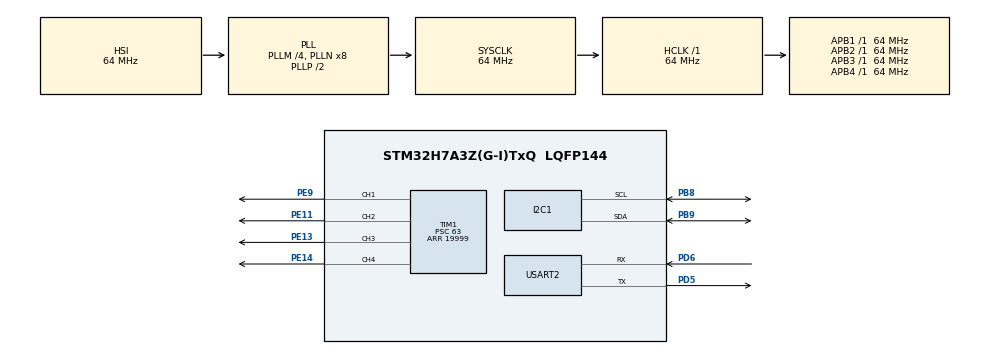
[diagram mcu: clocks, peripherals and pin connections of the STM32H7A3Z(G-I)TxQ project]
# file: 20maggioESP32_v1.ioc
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CORTEX_M7.default_mode_Activation=1
Mcu.Family=STM32H7
Mcu.Name=STM32H7A3Z(G-I)TxQ
Mcu.Package=LQFP144
NVIC.PriorityGroup=NVIC_PRIORITYGROUP_4
NVIC.USART2_IRQn=true\:0\:0\:false\:false\:true\:true\:true\:true
PB8.Mode=I2C
PB8.Signal=I2C1_SCL
PB9.Mode=I2C
PB9.Signal=I2C1_SDA
PC14-OSC32_IN.GPIO_Label=OSC32_IN
PC14-OSC32_IN.Signal=RCC_OSC32_IN
PC15-OSC32_OUT.GPIO_Label=OSC32_OUT
PC15-OSC32_OUT.Signal=RCC_OSC32_OUT
PD5.Mode=Asynchronous
PD5.Signal=USART2_TX
PD6.Mode=Asynchronous
PD6.Signal=USART2_RX
PD8.GPIO_Label=STLINK_RX
PD8.Signal=USART3_TX
PD9.GPIO_Label=STLINK_TX
PD9.Signal=USART3_RX
PE11.Signal=S_TIM1_CH2
PE13.Signal=S_TIM1_CH3
PE14.Signal=S_TIM1_CH4
PE9.Signal=S_TIM1_CH1
PH0-OSC_IN.GPIO_Label=PH0-MCU
PH0-OSC_IN.Signal=RCC_OSC_IN
PH1-OSC_OUT.GPIO_Label=PH1-MCU
PH1-OSC_OUT.Signal=RCC_OSC_OUT
ProjectManager.HeapSize=0x200
ProjectManager.StackSize=0x400
ProjectManager.TargetToolchain=STM32CubeIDE
RCC.ADCFreq_Value=129000000
RCC.APB1Freq_Value=64000000
RCC.APB2Freq_Value=64000000
RCC.APB3Freq_Value=64000000
RCC.APB4Freq_Value=64000000
RCC.CortexFreq_Value=64000000
RCC.DIVM1=4
RCC.DIVM3=1
RCC.DIVN1=8
RCC.DIVN3=24
RCC.DIVQ1=4
RCC.HCLKFreq_Value=64000000
RCC.HSE_VALUE=8000000
RCC.PLLFRACN=0
RCC.PWR_Regulator_Voltage_Scale=PWR_REGULATOR_VOLTAGE_SCALE0
RCC.SYSCLKFreq_VALUE=64000000
RCC.SYSCLKSource=RCC_SYSCLKSOURCE_PLLCLK
RCC.SupplySource=PWR_DIRECT_SMPS_SUPPLY
RCC.USBCLockSelection=RCC_USBCLKSOURCE_HSI48
RCC.USBFreq_Value=48000000
SH.S_TIM1_CH1.0=TIM1_CH1,PWM Generation1 CH1
SH.S_TIM1_CH2.0=TIM1_CH2,PWM Generation2 CH2
SH.S_TIM1_CH3.0=TIM1_CH3,PWM Generation3 CH3
SH.S_TIM1_CH4.0=TIM1_CH4,PWM Generation4 CH4
TIM1.AutoReloadPreload=TIM_AUTORELOAD_PRELOAD_ENABLE
TIM1.Channel-PWM\ Generation1\ CH1=TIM_CHANNEL_1
TIM1.Channel-PWM\ Generation2\ CH2=TIM_CHANNEL_2
TIM1.Channel-PWM\ Generation3\ CH3=TIM_CHANNEL_3
TIM1.Channel-PWM\ Generation4\ CH4=TIM_CHANNEL_4
TIM1.Period=19999
TIM1.Prescaler=63
USART2.VirtualMode-Asynchronous=VM_ASYNC
VP_MEMORYMAP_VS_MEMORYMAP.Mode=CurAppReg
VP_TIM1_VS_ClockSourceINT.Mode=Internal
board=NUCLEO-H7A3ZI-Q

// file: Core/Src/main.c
/* USER CODE BEGIN Header */
/**
 ******************************************************************************
 * @file           : main.c
 * @brief          : Main program body - Drone Flight Controller
 ******************************************************************************
 */
/* USER CODE END Header */

#include "main.h"

/* USER CODE BEGIN Includes */
#include <math.h>
#include <stdio.h>
#include <stdlib.h>
#include <string.h>
/* USER CODE END Includes */

/* USER CODE BEGIN PD */
#define MPU6050_ADDR 0xD0 // Indirizzo I2C (AD0 a GND) ottenuto partendo da 0x68 shiftando a sinistra i bit e mettendo 0 come LSB

// Costanti Matematiche e di Sistema
#define RAD_TO_DEG 57.2957795131f
#define LPF_ALPHA 0.1f // Fattore filtro Passa-Basso per filtrare i valori dell'accelerazione (siccome l'accelerometro è sensibile al rumore ad alta frequenza, tipo vibrazioni)
#define COMP_ALPHA 0.999f // Fattore filtro Complementare
#define GYRO_SCALE 65.5f // Scala giroscopio per +/- 500 deg/s

// Mapping giroscopio -> angolo
#define GYRO_ROLL_SIGN 1.0f  // gyro X -> roll
#define GYRO_PITCH_SIGN 1.0f // gyro Y -> pitch
#define GYRO_YAW_SIGN 1.0f   // gyro Z -> yaw rate

// Yaw: segno di miscelazione e limiti
// Se il drone, con yaw attivo, tende a ruotare SEMPRE PIU' VELOCE invece di
// stabilizzarsi, inverti YAW_MIX_SIGN (1.0f <-> -1.0f).
#define YAW_MIX_SIGN 1.0f
#define YAW_OUT_MAX 150.0f // massima correzione yaw in us sui motori
#define YAW_I_MAX 60.0f    // limite anti-windup dell'integrale yaw
#define YAW_D_LPF 0.2f     // filtro passa-basso sulla derivata yaw (0..1)

// Controllo direzionale da web (inclinazione fissa, non graduale)
#define DIR_TILT_DEG 5.0f        // inclinazione MASSIMA (joystick a fondo corsa)
#define DIR_YAW_RATE_DPS 30.0f   // velocita' di imbardata in deg/s
#define DIR_TIMEOUT_MS 400       // se non arrivano DIR, torna in piano
// Se un comando va nel verso sbagliato, metti -1.0f
#define DIR_PITCH_SIGN 1.0f
#define DIR_ROLL_SIGN 1.0f
#define DIR_YAW_SIGN 1.0f

// Sicurezza e trim motori
#define MOTOR_TIMEOUT_MS 45000 // spegnimento automatico dopo 8 s
#define TRIM_MIN 0.80f        // limiti moltiplicatori motori
#define TRIM_MAX 1.20f
#define RX_LINE_LEN 64
#define RX_QUEUE_LEN 4
// Failsafe collegamento: se con i motori accesi non arriva "HB:" dall'ESP32
// per LINK_TIMEOUT_MS (WiFi perso, filo UART staccato, pagina bloccata) -> kill
#define LINK_TIMEOUT_MS 500
/* USER CODE END PD */

I2C_HandleTypeDef hi2c1;
TIM_HandleTypeDef htim1;
UART_HandleTypeDef huart2;

/* USER CODE BEGIN PV */
// Variabili MPU6050 (Filtri)
float ax_filt = 0, ay_filt = 0, az_filt = 0;
float pitch = 0, roll = 0;
uint32_t last_time = 0;
float dt_actual = 0.004f;

// Variabili Calibrazione
float gyro_x_cal = 0.0f, gyro_y_cal = 0.0f, gyro_z_cal = 0.0f;
float acc_pitch_cal = -4.79f, acc_roll_cal = -0.89f; // -4.79   -0.89 stimati in precedenza con le accelerazioni in MPU_Init (tenendo il drone dritto)
float gyro_rate_pitch = 0.0f;
float gyro_rate_roll = 0.0f;
float gyro_rate_yaw = 0.0f;

// Variabili UART ESP32
uint8_t esp32_rx_byte;
char rx_line[RX_LINE_LEN];                // riga in costruzione (ISR)
uint8_t rx_index = 0;
volatile uint8_t rx_overflow = 0;
char rx_queue[RX_QUEUE_LEN][RX_LINE_LEN]; // coda comandi ISR -> main
volatile uint8_t rx_q_head = 0, rx_q_tail = 0;
volatile uint32_t link_last_tick = 0; // ultimo heartbeat "HB:" valido ricevuto
char telemetry_tx_buffer[300];
volatile uint8_t telemetry_tx_busy = 0;

// Stato di sistema - Variabili PID
uint32_t current_throttle = 1000;
float pid_pitch_p = 3.0f, pid_pitch_i = 0.7f, pid_pitch_d = 0.8f;
float pid_roll_p = 3.0f, pid_roll_i = 0.9f, pid_roll_d = 0.85f;
// PID Yaw (controllo sulla velocita' angolare, setpoint 0 deg/s).

float pid_yaw_p = 1.0f, pid_yaw_i = 0.8f, pid_yaw_d = 0.1f;
volatile uint8_t motors_enabled = 0;
uint32_t motor_start_tick = 0;			// Per misurare i secondi in cui il drone vola (safe turn-off)

// Moltiplicatori motori (1.0 = nessuna correzione) - VALORI DI DEFAULT
// 0 = M1 Front Left, 1 = M2 Front Right, 2 = M3 Back Right, 3 = M4 Back Left
float motor_trim[4] = {0.900f, 1.060f, 1.170f, 1.080f};			// Trim modificato per correggere la potenza dei motori (dispersione dei parametri)

// Variabili PID
float error_pitch = 0, integral_pitch = 0;
float error_roll = 0, integral_roll = 0;
float error_yaw = 0, integral_yaw = 0;
float prev_gyro_rate_yaw = 0, yaw_d_filt = 0;

// Setpoint da comando direzionale (0 = hovering)
float sp_pitch = 0.0f, sp_roll = 0.0f, sp_yaw_rate = 0.0f;			// variabili per la direzione
uint32_t dir_last_tick = 0;
/* USER CODE END PV */

void SystemClock_Config(void);
static void MPU_Config(void);
static void MX_GPIO_Init(void);
static void MX_TIM1_Init(void);
static void MX_USART2_UART_Init(void);
static void MX_I2C1_Init(void);

/* USER CODE BEGIN PFP */
void MPU6050_Init(void);
void MPU6050_Read_Filter_Compute(void);
void PID_ComputeAndMix(void);
void Motors_Kill(void);
void Process_Command(char *line);
/* USER CODE END PFP */

int main(void) {
  /* MPU Configuration--------------------------------------------------------*/
  MPU_Config();

  /* Reset of all peripherals, Initializes the Flash interface and the Systick.
   */
  HAL_Init();

  /* Configure the system clock */
  SystemClock_Config();

  /* Initialize all configured peripherals */
  MX_GPIO_Init();
  MX_TIM1_Init();
  MX_USART2_UART_Init();
  MX_I2C1_Init();

  /* USER CODE BEGIN 2 */
  // Inizializzazione del sensore MPU6050
  MPU6050_Init();

  // Avvia i segnali PWM sui 4 canali del Timer 1
  HAL_TIM_PWM_Start(&htim1, TIM_CHANNEL_1);
  HAL_TIM_PWM_Start(&htim1, TIM_CHANNEL_2);
  HAL_TIM_PWM_Start(&htim1, TIM_CHANNEL_3);
  HAL_TIM_PWM_Start(&htim1, TIM_CHANNEL_4);

  // Armamento ESC (1000 us minimo)
  __HAL_TIM_SET_COMPARE(&htim1, TIM_CHANNEL_1, 1000);		// Per quanto tempo il segnale deve stare alto (1000us= 1ms)
  __HAL_TIM_SET_COMPARE(&htim1, TIM_CHANNEL_2, 1000);
  __HAL_TIM_SET_COMPARE(&htim1, TIM_CHANNEL_3, 1000);
  __HAL_TIM_SET_COMPARE(&htim1, TIM_CHANNEL_4, 1000);
  HAL_Delay(4000); // Attesa completamento boot ESC

  // Attiva la ricezione UART in modalità Interrupt
  HAL_UART_Receive_IT(&huart2, &esp32_rx_byte, 1); // Salva 1 byte in esp32_rx_byte

  last_time = HAL_GetTick();
  /* USER CODE END 2 */

  /* Infinite loop */
  /* USER CODE BEGIN WHILE */
  while (1) {
    uint32_t current_time = HAL_GetTick();

    // WATCHDOG: spegnimento automatico dopo MOTOR_TIMEOUT_MS secondi, controllato ad ogni giro
    // (fuori dal blocco a 4 ms)
    if (motors_enabled &&
        (current_time - motor_start_tick >= MOTOR_TIMEOUT_MS)) {
      Motors_Kill();
    }

    // WATCHDOG COLLEGAMENTO: nessun heartbeat valido -> spegni i motori.
    // Cast a int32_t: link_last_tick viene aggiornato in ISR quando arriva heartbeat e puo' essere
    // "piu' nuovo" di current_time. Questo perchè current_time e link_last_tick sono unsigned (e dunque un
    // numero negativo darebbe un kill perchè diventerebbe enorme)
    if (motors_enabled &&
        ((int32_t)(current_time - link_last_tick) >= LINK_TIMEOUT_MS)) {
      Motors_Kill();
    }

    /* Timeout comando direzionale: senza DIR recenti torna in piano
    if ((sp_pitch != 0.0f || sp_roll != 0.0f || sp_yaw_rate != 0.0f) &&			// Siccome il joystick torna a 0 quando si molla il dito, questa non serve, tecnicamente si può commentare
        (current_time - dir_last_tick >= DIR_TIMEOUT_MS)) {						// Lo usavamo quando il controller era fatto con frecce direzionali in fase di test
      sp_pitch = 0.0f;
      sp_roll = 0.0f;
      sp_yaw_rate = 0.0f;
    }
	*/

    // Se la ricezione UART si fosse fermata (errore), riarmala
    if (huart2.RxState == HAL_UART_STATE_READY) {
      HAL_UART_Receive_IT(&huart2, &esp32_rx_byte, 1);
    }

    // ==========================================
    // CONTROL LOOP: Eseguito ogni 4ms (250Hz)
    // ==========================================
    if (current_time - last_time >= 4) {
      // 1. Acquisizione I2C e applicazione filtri Digitali (Passa Basso +
      // Complementare)
      MPU6050_Read_Filter_Compute();

      // 2. Calcolo errori, computazione PID e miscelazione motori
      PID_ComputeAndMix();

      // 3. Telemetria verso ESP32 (Eseguita ogni 40ms -> 25Hz per evitare saturazione UART)
      static uint8_t telemetry_counter = 0;			// definita static in modo che il suo valore non venga azzerato ad ogni ciclo
      if (++telemetry_counter >= 10) {				// Entro nell'if solo dopo 10 cicli (40 ms)
        if (!telemetry_tx_busy) {					// telemetry_tx_busy viene messo a 0 in HAL_UART_TxCpltCallback
          int len = snprintf(						// Mi torna il numero di caratteri della stringa in telemetry_tx_buffer
              telemetry_tx_buffer, sizeof(telemetry_tx_buffer),
              "ANG:%.2f,%.2f,"
              "yaw_rate:%.2f,"
              "pid_pitch_p:%.3f,pid_pitch_i:%.3f,pid_pitch_d:%.3f,"
              "pid_roll_p:%.3f,pid_roll_i:%.3f,pid_roll_d:%.3f,"
              "pid_yaw_p:%.3f,pid_yaw_i:%.3f,pid_yaw_d:%.3f,"
              "trim1:%.3f,trim2:%.3f,trim3:%.3f,trim4:%.3f,"
              "motors:%d\n",
              pitch, roll, gyro_rate_yaw, pid_pitch_p, pid_pitch_i,
              pid_pitch_d, pid_roll_p, pid_roll_i, pid_roll_d, pid_yaw_p,
              pid_yaw_i, pid_yaw_d, motor_trim[0], motor_trim[1],
              motor_trim[2], motor_trim[3], (int)motors_enabled);

          if (len > 0 && len < (int)sizeof(telemetry_tx_buffer)) {
            telemetry_tx_busy = 1;
            if (HAL_UART_Transmit_IT(&huart2, (uint8_t *)telemetry_tx_buffer,			// Nel caso in cui non vada bene la ricezione non torna HAL_OK
                                     (uint16_t)len) != HAL_OK) {						// Una volta mandato correttamente l'ultimo byte si attiva HAL_UART_TxCpltCallback
              telemetry_tx_busy = 0;
            }
          }
        }
        telemetry_counter = 0;
      }
    }

    // ==========================================
    // PARSING DEI COMANDI ESP32 (coda riempita dalla ISR)
    // ==========================================

    // La catena è la seguente: 1 byte viene mandato tramite UART all'H7 e viene salvato in esp32_rx_byte. Siccome arriva un byte, si attiva HAL_UART_RxCpltCallback.
    // In questa funzione i byte in arrivo vengono inseriti in un buffer "rx_line[64]" fino a quando non arriva un "\n" e successivamente si riarma la ricezione con HAL_UART_Receive_IT. Per essere più sicuri che i pacchetti
    // non vengano persi, salviamo 3 messaggi (ciascuno al massimo da 64 byte) in rx_queue[4][64]. Inoltre i messaggi di spegnimento, spegnimento di emergenza e HeartBeat vengono processati direttamente nel interrupt,
    // e non vengono dunque messi nella coda.

    // Nel while qui sotto utilizziamo 2 indici rx_q_tail: utilizzata dal main, è l'indice del prossimo comando da eseguire in Process_Command(). rx_q_head: utilizzata dalla ISR indica
    // il prossimo slot in cui scrivere. Fino a quando ci sono dei messaggi nella coda il while è attivo e carica in ordine in local_buffer l'istruzione da eseguire.

    while (rx_q_tail != rx_q_head) {						// rx_q_head è una variabile che viene aumentata dall'ISR
      char local_buffer[RX_LINE_LEN];
      strncpy(local_buffer, rx_queue[rx_q_tail], RX_LINE_LEN - 1);
      local_buffer[RX_LINE_LEN - 1] = '\0';
      rx_q_tail = (rx_q_tail + 1) % RX_QUEUE_LEN;
      Process_Command(local_buffer);
    }
    /* USER CODE END WHILE */
  }
}

/* USER CODE BEGIN 4 */

/**
 * @brief Inizializzazione MPU6050 via I2C
 */
void MPU6050_Init(void) {
  uint8_t check, data;

  // Verifica presenza MPU6050 controllando il registro WHO_AM_I (0x75)
  HAL_I2C_Mem_Read(&hi2c1, MPU6050_ADDR, 0x75, 1, &check, 1, 1000);		// Salvo in &check il valore del registro WHO_AM_
  // I2c mette uno "0" come ultimo bit per scrittura, e "1" come ultimo bit per lettura. Si usa sempre l'inidirizzo con "0" alla fine (sia per scrittura e lettura)
  // e viene gestita in automatico dalla HAL.

  if (check == 104) { // 104 = 0x68 (Default per MPU6050)
    // 1. Risveglio MPU6050
    data = 0;
    HAL_I2C_Mem_Write(&hi2c1, MPU6050_ADDR, 0x6B, 1, &data, 1, 1000);  // Scrivo 0 in tutto il registro per togliere sleep mode del MPU6050
    // 2. Configurazione Giroscopio: Fondo scala +/- 500 deg/s
    data = 0x08;
    HAL_I2C_Mem_Write(&hi2c1, MPU6050_ADDR, 0x1B, 1, &data, 1, 1000);
    // 3. Configurazione Accelerometro: Fondo scala +/- 2g
    data = 0x00;
    HAL_I2C_Mem_Write(&hi2c1, MPU6050_ADDR, 0x1C, 1, &data, 1, 1000);

    // 4. Filtro passa basso integrato nel MPU6050 (0x03 = 42Hz) per ridurre
    // phase lag

    // modificato 188Hz 01
    // 0x02 giroscopio =  98 Hz ( delay 2.8ms) --- accelerometro = 94 Hz (Delay 3.0ms)
    data = 0x02;
    HAL_I2C_Mem_Write(&hi2c1, MPU6050_ADDR, 0x1A, 1, &data, 1, 1000);

    // --- 4. CALIBRAZIONE GIROSCOPIO E ACCELEROMETRO ---

    // Qui viene fatta la media con num_samples campioni per la calibrazione, per determinare gli offsets a riposo.

    HAL_Delay(4000);		// Delay per aspettare che il drone sia fermo per terra (orizzontale)

    // Inizializzazione variabili
    int32_t gx_sum = 0, gy_sum = 0, gz_sum = 0;					// variabili per giroscopio
    float acc_pitch_sum = 0.0f, acc_roll_sum = 0.0f;
    uint8_t rec_data[14];
    const int num_samples = 2000;

    for (int i = 0; i < num_samples; i++) {
      HAL_I2C_Mem_Read(&hi2c1, MPU6050_ADDR, 0x3B, 1, rec_data, 14, 100); // Legge nel registro 3B che contiene dati su accelerazioni (ci sono due registri per ogni asse perchè ho 16 bit per asse)
      // Inoltre ci sono altri registri interni che si aggiornano in maniera continua (non accessibili dall'utente), il secondo tipo di registro (user facing) si aggiorna solo quando la comunicazione è in idle (ovvero non c'è lettura). Questa funzione
      // legge tutti i registri (da 0x3B fino a 0x48 ovvero 14 byte salvati in rec_data).

      // Somma Giroscopio
      gx_sum += (int16_t)(rec_data[8] << 8 | rec_data[9]);			// Prendo l'ottavo byte (gli 8 bit del registro high, i più significativi), shifto a sx di 8, e ci affianco 8 bit low (meno significativi), e faccio casting per avere numero a 16bit
      gy_sum += (int16_t)(rec_data[10] << 8 | rec_data[11]);
      gz_sum += (int16_t)(rec_data[12] << 8 | rec_data[13]);

      // Calcolo e somma angoli grezzi Accelerometro
      int16_t ax = (int16_t)(rec_data[0] << 8 | rec_data[1]);
      int16_t ay = (int16_t)(rec_data[2] << 8 | rec_data[3]);
      int16_t az = (int16_t)(rec_data[4] << 8 | rec_data[5]);

      /*

       Qui abbiamo stimato una volta sola gli angoli (siccome il drone e MPU6050 non sono allineati perfettamente con la gravità, ovvero non sono a bolla).
       Una volta stimati questi valori, gli abbiamo inseriti a mano nel codice in float acc_pitch_cal = -4.79f, acc_roll_cal = -0.89f;

       acc_pitch_sum += atan2f(-ax, sqrtf(ay * ay + az * az)) * RAD_TO_DEG;
       acc_roll_sum += atan2f(ay, sqrtf(ax * ax + az * az)) * RAD_TO_DEG;

        */
      HAL_Delay(3); // Attesa per non saturare il bus I2C
    }

    // Salva gli offset medi
    gyro_x_cal = (float)gx_sum / num_samples;
    gyro_y_cal = (float)gy_sum / num_samples;
    gyro_z_cal = (float)gz_sum / num_samples;

    // Pre-carica i filtri LPF con l'ultima lettura (carichiamo l'ultimo valore misurato dal MPU6050 per il LPF che è ricorsivo, e necessitiamo valori passati)
    ax_filt = (int16_t)(rec_data[0] << 8 | rec_data[1]);
    ay_filt = (int16_t)(rec_data[2] << 8 | rec_data[3]);
    az_filt = (int16_t)(rec_data[4] << 8 | rec_data[5]);

    // Azzera gli angoli di partenza (l'errore lo sottrarremo a runtime)
    pitch = 0.0f;
    roll = 0.0f;
  }
}

/**
 * @brief Acquisizione, Filtro LPF (Accelerometro) e Filtro Complementare
 */
void MPU6050_Read_Filter_Compute(void) {
  uint8_t rec_data[14];

  // Lettura burst da 14 byte a partire dall'indirizzo base dei dati (0x3B)
  HAL_I2C_Mem_Read(&hi2c1, MPU6050_ADDR, 0x3B, 1, rec_data, 14, 100);			// 14 byte da 0x3B in poi e mettili in rec_data

  // Parsing registri grezzi
  int16_t accel_x_raw = (int16_t)(rec_data[0] << 8 | rec_data[1]);
  int16_t accel_y_raw = (int16_t)(rec_data[2] << 8 | rec_data[3]);
  int16_t accel_z_raw = (int16_t)(rec_data[4] << 8 | rec_data[5]);
  int16_t gyro_x_raw = (int16_t)(rec_data[8] << 8 | rec_data[9]);
  int16_t gyro_y_raw = (int16_t)(rec_data[10] << 8 | rec_data[11]);
  int16_t gyro_z_raw = (int16_t)(rec_data[12] << 8 | rec_data[13]);

  // Applicazione LPF Esponenziale (EMA) sui vettori accelerometrici
  ax_filt = LPF_ALPHA * accel_x_raw + (1.0f - LPF_ALPHA) * ax_filt;
  ay_filt = LPF_ALPHA * accel_y_raw + (1.0f - LPF_ALPHA) * ay_filt;
  az_filt = LPF_ALPHA * accel_z_raw + (1.0f - LPF_ALPHA) * az_filt;

  // Estrazione angoli grezzi accelerometro e SOTTRAZIONE BIAS (Offset)
  float acc_pitch = (atan2f(-ax_filt, sqrtf(ay_filt * ay_filt + az_filt * az_filt)) * RAD_TO_DEG) - acc_pitch_cal;
  float acc_roll = (atan2f(ay_filt, sqrtf(ax_filt * ax_filt + az_filt * az_filt)) * RAD_TO_DEG) - acc_roll_cal;

  // Aggiornamento tempo per il controllo del loop principale
  uint32_t current_time = HAL_GetTick();
  last_time = current_time;

  // Hardcode di dt_actual a 4ms per annullare il jitter (HAL_GetTick oscilla e
  // destabilizza la Derivata)
  // dt_actual = 0.004f;

  // Velocita' angolari in Gradi/Secondo con offset rimosso
  // Gyro X ruota attorno a X -> ROLL ; Gyro Y ruota attorno a Y -> PITCH
  // Gyro Z ruota attorno a Z -> YAW
  gyro_rate_roll = GYRO_ROLL_SIGN * (gyro_x_raw - gyro_x_cal) / GYRO_SCALE;		// Misuro la variazione dell'angolo, ma siccome gyro_x_raw mi torna un numero intero a 16bit (fino a +32768, e usando
  // un fattore di scala di +-500 gradi/s, ottengo GYRO_SCALE = 32768/500 = 65.5 gradi/s. Si ottiene dunque la conversione in gradi/s ovvero velocità angolare)
  gyro_rate_pitch = GYRO_PITCH_SIGN * (gyro_y_raw - gyro_y_cal) / GYRO_SCALE;
  gyro_rate_yaw = GYRO_YAW_SIGN * (gyro_z_raw - gyro_z_cal) / GYRO_SCALE;

  // Filtro Complementare
  roll = COMP_ALPHA * (roll + gyro_rate_roll * dt_actual) +
         (1.0f - COMP_ALPHA) * acc_roll;
  pitch = COMP_ALPHA * (pitch + gyro_rate_pitch * dt_actual) +
          (1.0f - COMP_ALPHA) * acc_pitch;
}

/**
 * @brief Spegne subito tutti i motori. Chiamabile da ISR e da main.
 */
void Motors_Kill(void) {
  motors_enabled = 0;
  current_throttle = 1000;
  integral_pitch = 0;
  integral_roll = 0;
  integral_yaw = 0;
  sp_pitch = 0.0f;
  sp_roll = 0.0f;
  sp_yaw_rate = 0.0f;
  __HAL_TIM_SET_COMPARE(&htim1, TIM_CHANNEL_1, 1000);
  __HAL_TIM_SET_COMPARE(&htim1, TIM_CHANNEL_2, 1000);
  __HAL_TIM_SET_COMPARE(&htim1, TIM_CHANNEL_3, 1000);
  __HAL_TIM_SET_COMPARE(&htim1, TIM_CHANNEL_4, 1000);
}

/**
 * @brief Interpreta una riga di comando ricevuta dall'ESP32
 */
void Process_Command(char *line) {
  if (strncmp(line, "CMD:", 4) == 0) {
    if (line[4] == 't') {
      if (!motors_enabled) { // un secondo 't' NON rinnova il timer degli 8 s
        motor_start_tick = HAL_GetTick();
        link_last_tick = HAL_GetTick(); // parte il watchdog collegamento
        motors_enabled = 1;
      }
    } else if (line[4] == 's' || line[4] == 'e') {
      Motors_Kill(); // (gia' gestito in ISR, qui per sicurezza)  é ridondante
    }
  } else if (strncmp(line, "THR:", 4) == 0) {
    int esp32_throttle = atoi(&line[4]);
    if (esp32_throttle >= 0 && esp32_throttle <= 255) {
      current_throttle = 1000 + ((esp32_throttle * 1000) / 255);
    }
  } else if (strncmp(line, "PID:", 4) == 0) {
    float v[6];
    if (sscanf(&line[4], "%f,%f,%f,%f,%f,%f", &v[0], &v[1], &v[2], &v[3],
               &v[4], &v[5]) == 6) {
      pid_pitch_p = v[0];
      pid_pitch_i = v[1];
      pid_pitch_d = v[2];
      pid_roll_p = v[3];
      pid_roll_i = v[4];
      pid_roll_d = v[5];
    }
  } else if (strncmp(line, "YAW:", 4) == 0) {
    float y[3];
    if (sscanf(&line[4], "%f,%f,%f", &y[0], &y[1], &y[2]) == 3) {
      pid_yaw_p = y[0];
      pid_yaw_i = y[1];
      pid_yaw_d = y[2];
    }
  } else if (strncmp(line, "DIR:", 4) == 0) {
    int p, r, y;
    if (sscanf(&line[4], "%d,%d,%d", &p, &r, &y) == 3) {
      if (p > 100) p = 100;
      if (p < -100) p = -100;
      if (r > 100) r = 100;
      if (r < -100) r = -100;
      if (y > 1) y = 1;
      if (y < -1) y = -1;
      sp_pitch = DIR_PITCH_SIGN * ((float)p / 100.0f) * DIR_TILT_DEG;
      sp_roll = DIR_ROLL_SIGN * ((float)r / 100.0f) * DIR_TILT_DEG;
      sp_yaw_rate = DIR_YAW_SIGN * (float)y * DIR_YAW_RATE_DPS;
      dir_last_tick = HAL_GetTick();
    }
  } else if (strncmp(line, "TRIM:", 5) == 0) {
    float k[4];
    if (sscanf(&line[5], "%f,%f,%f,%f", &k[0], &k[1], &k[2], &k[3]) == 4) {
      for (int i = 0; i < 4; i++) {
        if (k[i] < TRIM_MIN)
          k[i] = TRIM_MIN;
        if (k[i] > TRIM_MAX)
          k[i] = TRIM_MAX;
        motor_trim[i] = k[i];
      }
    }
  }
}

/**
 * @brief Computazione PID e Miscelazione base motori (X-Configuration)
 */
void PID_ComputeAndMix(void) {
  // Safety check. Se motori disarmati O throttle basso: motori a 1000 us.
  // (prima in questo caso i motori restavano all'ultimo valore scritto!)
  if (!motors_enabled || current_throttle < 1050) {
    integral_pitch = 0;
    integral_roll = 0;
    integral_yaw = 0;
    prev_gyro_rate_yaw = gyro_rate_yaw;		// Qui ci serve lo yaw_rate precedente perchè dobbiamo calcolare il derivativo. Per pitch e roll al posto della derivata usiamo direttamente la velocità angolare
    yaw_d_filt = 0;
    __HAL_TIM_SET_COMPARE(&htim1, TIM_CHANNEL_1, 1000);
    __HAL_TIM_SET_COMPARE(&htim1, TIM_CHANNEL_2, 1000);
    __HAL_TIM_SET_COMPARE(&htim1, TIM_CHANNEL_3, 1000);
    __HAL_TIM_SET_COMPARE(&htim1, TIM_CHANNEL_4, 1000);
    return;
  }

  // Setpoint: 0 per hovering, oppure inclinazione fissa da comando web
  error_pitch = sp_pitch - pitch;
  error_roll = sp_roll - roll;

  // Componente Integrale
  integral_pitch += error_pitch * dt_actual;
  integral_roll += error_roll * dt_actual;

  // Componente Derivativa: d(setpoint - angolo)/dt = -velocita_angolare.
  float deriv_pitch = -gyro_rate_pitch;			// Usiamo direttamente la velocità angolare al posto della derivata dell'angolo rispetto al tempo.
  float deriv_roll = -gyro_rate_roll;

  // Uscita PID
  float pid_pitch_out = (pid_pitch_p * error_pitch) +
                        (pid_pitch_i * integral_pitch) +
                        (pid_pitch_d * deriv_pitch);
  float pid_roll_out = (pid_roll_p * error_roll) +
                       (pid_roll_i * integral_roll) + (pid_roll_d * deriv_roll);

  // ---------------- YAW ----------------
  // Il MPU6050 non ha magnetometro: lo yaw e' controllato sulla velocita'
  // angolare (gyro Z), setpoint 0 deg/s (o velocita' da comando web).
  // L'integrale dell'errore di velocita' equivale a un "heading hold" a
  // breve termine (deriva lenta del gyro).
  error_yaw = sp_yaw_rate - gyro_rate_yaw;

  integral_yaw += error_yaw * dt_actual;
  if (integral_yaw > YAW_I_MAX)
    integral_yaw = YAW_I_MAX;
  if (integral_yaw < -YAW_I_MAX)
    integral_yaw = -YAW_I_MAX;

  // Derivata dell'errore = -(variazione della velocita' angolare), filtrata
  float rate_d = (gyro_rate_yaw - prev_gyro_rate_yaw) / dt_actual;
  prev_gyro_rate_yaw = gyro_rate_yaw;
  yaw_d_filt = YAW_D_LPF * rate_d + (1.0f - YAW_D_LPF) * yaw_d_filt;
  float deriv_yaw = -yaw_d_filt;

  float pid_yaw_out = (pid_yaw_p * error_yaw) + (pid_yaw_i * integral_yaw) +
                      (pid_yaw_d * deriv_yaw);
  if (pid_yaw_out > YAW_OUT_MAX)
    pid_yaw_out = YAW_OUT_MAX;
  if (pid_yaw_out < -YAW_OUT_MAX)
    pid_yaw_out = -YAW_OUT_MAX;

  float yaw_mix = YAW_MIX_SIGN * pid_yaw_out;

  // TRIM: il moltiplicatore agisce sulla parte di throttle sopra il minimo
  // (1000 us), quindi il motore debole riceve piu' spinta in proporzione.
  float thr_above = (float)current_throttle - 1000.0f;
  float t1 = 1000.0f + thr_above * motor_trim[0]; // Front Left
  float t2 = 1000.0f + thr_above * motor_trim[1]; // Front Right
  float t3 = 1000.0f + thr_above * motor_trim[2]; // Back Right
  float t4 = 1000.0f + thr_above * motor_trim[3]; // Back Left

  // Motor Mixing X-Config (adattare i segni a seconda dell'orientamento
  // dell'IMU). Yaw: le due diagonali (M1+M3 e M2+M4) girano in versi opposti,
  // quindi la correzione yaw si somma su una diagonale e si sottrae
  // sull'altra.
  int16_t m1 = (int16_t)(t1 + pid_pitch_out + pid_roll_out + yaw_mix); // Front Left
  int16_t m2 = (int16_t)(t2 + pid_pitch_out - pid_roll_out - yaw_mix); // Front Right
  int16_t m3 = (int16_t)(t3 - pid_pitch_out - pid_roll_out + yaw_mix); // Back Right
  int16_t m4 = (int16_t)(t4 - pid_pitch_out + pid_roll_out - yaw_mix); // Back Left

  // Saturazione segnali (Anti-Windup Meccanico)
  m1 = (m1 > 2000) ? 2000 : (m1 < 1000 ? 1000 : m1);
  m2 = (m2 > 2000) ? 2000 : (m2 < 1000 ? 1000 : m2);
  m3 = (m3 > 2000) ? 2000 : (m3 < 1000 ? 1000 : m3);
  m4 = (m4 > 2000) ? 2000 : (m4 < 1000 ? 1000 : m4);

  // Applicazione al registro PWM, protetta: se un EMERGENCY STOP arriva (ISR)
  // mentre stavamo calcolando, NON deve essere sovrascritto con valori vecchi.
  __disable_irq();							// Si disattivano gli interrupt, perchè se entriamo nell'if(motors_enable) ed arriva un segnale di emergency stop, se esegue motors_kill(), e successivamente
  // il codice riprende dall'ultima linea, dando potenza ai motori non ancora settati (questo perchè motors_kill non lavora su m1,m2,m3,m4
  if (motors_enabled) {
    __HAL_TIM_SET_COMPARE(&htim1, TIM_CHANNEL_1, m1);
    __HAL_TIM_SET_COMPARE(&htim1, TIM_CHANNEL_2, m2);
    __HAL_TIM_SET_COMPARE(&htim1, TIM_CHANNEL_3, m3);
    __HAL_TIM_SET_COMPARE(&htim1, TIM_CHANNEL_4, m4);
  }
  __enable_irq();
}

/**
 * @brief Callback Interrupt UART RX
 *        Stop/emergency ("CMD:s" / "CMD:e") vengono eseguiti QUI, subito,
 *        senza aspettare il main loop. Gli altri comandi vanno in coda.
 */
void HAL_UART_RxCpltCallback(UART_HandleTypeDef *huart) {
  if (huart->Instance == USART2) {
    char c = (char)esp32_rx_byte;

    if (c == '\n') {
      rx_line[rx_index] = '\0';
      rx_index = 0;

      if (rx_overflow) {
        rx_overflow = 0; // riga troppo lunga: scartata
      } else if (strstr(rx_line, "CMD:e") != NULL ||
                 strstr(rx_line, "CMD:s") != NULL) {
        Motors_Kill();
      } else if (strncmp(rx_line, "HB:", 3) == 0) {		// torna 0 se c'è corrispondenza
        link_last_tick = HAL_GetTick(); // heartbeat: non va in coda
      } else {												// Se il messaggio ricevuto non è ne emergency stop, ne stop, ne HeartBeat, esegue else
        uint8_t next = (rx_q_head + 1) % RX_QUEUE_LEN;
        if (next != rx_q_tail) { // se la coda e' piena scarta
          strcpy(rx_queue[rx_q_head], rx_line);
          rx_q_head = next;
        }
      }
    } else if (c != '\r') {				// se il c è diverso dal carriage return (ovvero c è un carattere)
      if (rx_index < (RX_LINE_LEN - 1)) {
        rx_line[rx_index++] = c;
      } else {
        rx_overflow = 1;
      }
    }
    HAL_UART_Receive_IT(&huart2, &esp32_rx_byte, 1);
  }
}

/**
 * @brief Errori UART (overrun, framing...): senza questo la ricezione si
 *        ferma e l'emergency stop non arriverebbe piu'.
 */
void HAL_UART_ErrorCallback(UART_HandleTypeDef *huart) {
  if (huart->Instance == USART2) {
    __HAL_UART_CLEAR_FLAG(huart, UART_CLEAR_OREF | UART_CLEAR_NEF |
                                     UART_CLEAR_PEF | UART_CLEAR_FEF);
    rx_index = 0;
    rx_overflow = 0;
    HAL_UART_Receive_IT(huart, &esp32_rx_byte, 1);
  }
}

/**
 * @brief Callback Interrupt UART TX completata
 */
void HAL_UART_TxCpltCallback(UART_HandleTypeDef *huart) {
  if (huart->Instance == USART2) {
    telemetry_tx_busy = 0;
  }
}
/* USER CODE END 4 */

void SystemClock_Config(void) {
  RCC_OscInitTypeDef RCC_OscInitStruct = {0};
  RCC_ClkInitTypeDef RCC_ClkInitStruct = {0};

  RCC->CKGAENR = 0xE003FFFF;
  HAL_PWREx_ConfigSupply(PWR_DIRECT_SMPS_SUPPLY);
  __HAL_PWR_VOLTAGESCALING_CONFIG(PWR_REGULATOR_VOLTAGE_SCALE0);
  while (!__HAL_PWR_GET_FLAG(PWR_FLAG_VOSRDY)) {
  }

  RCC_OscInitStruct.OscillatorType = RCC_OSCILLATORTYPE_HSI;
  RCC_OscInitStruct.HSIState = RCC_HSI_DIV1;
  RCC_OscInitStruct.HSICalibrationValue = 64;
  RCC_OscInitStruct.PLL.PLLState = RCC_PLL_ON;
  RCC_OscInitStruct.PLL.PLLSource = RCC_PLLSOURCE_HSI;
  RCC_OscInitStruct.PLL.PLLM = 4;
  RCC_OscInitStruct.PLL.PLLN = 8;
  RCC_OscInitStruct.PLL.PLLP = 2;
  RCC_OscInitStruct.PLL.PLLQ = 4;
  RCC_OscInitStruct.PLL.PLLR = 2;
  RCC_OscInitStruct.PLL.PLLRGE = RCC_PLL1VCIRANGE_3;
  RCC_OscInitStruct.PLL.PLLVCOSEL = RCC_PLL1VCOWIDE;
  RCC_OscInitStruct.PLL.PLLFRACN = 0;
  if (HAL_RCC_OscConfig(&RCC_OscInitStruct) != HAL_OK) {
    Error_Handler();
  }

  RCC_ClkInitStruct.ClockType = RCC_CLOCKTYPE_HCLK | RCC_CLOCKTYPE_SYSCLK |
                                RCC_CLOCKTYPE_PCLK1 | RCC_CLOCKTYPE_PCLK2 |
                                RCC_CLOCKTYPE_D3PCLK1 | RCC_CLOCKTYPE_D1PCLK1;
  RCC_ClkInitStruct.SYSCLKSource = RCC_SYSCLKSOURCE_PLLCLK;
  RCC_ClkInitStruct.SYSCLKDivider = RCC_SYSCLK_DIV1;
  RCC_ClkInitStruct.AHBCLKDivider = RCC_HCLK_DIV1;
  RCC_ClkInitStruct.APB3CLKDivider = RCC_APB3_DIV1;
  RCC_ClkInitStruct.APB1CLKDivider = RCC_APB1_DIV1;
  RCC_ClkInitStruct.APB2CLKDivider = RCC_APB2_DIV1;
  RCC_ClkInitStruct.APB4CLKDivider = RCC_APB4_DIV1;

  if (HAL_RCC_ClockConfig(&RCC_ClkInitStruct, FLASH_LATENCY_1) != HAL_OK) {
    Error_Handler();
  }
}

static void MX_I2C1_Init(void) {
  hi2c1.Instance = I2C1;
  hi2c1.Init.Timing = 0x00909FCE; // Configurazione per 400kHz (Fast Mode)
  hi2c1.Init.OwnAddress1 = 0;
  hi2c1.Init.AddressingMode = I2C_ADDRESSINGMODE_7BIT;
  hi2c1.Init.DualAddressMode = I2C_DUALADDRESS_DISABLE;
  hi2c1.Init.OwnAddress2 = 0;
  hi2c1.Init.OwnAddress2Masks = I2C_OA2_NOMASK;
  hi2c1.Init.GeneralCallMode = I2C_GENERALCALL_DISABLE;
  hi2c1.Init.NoStretchMode = I2C_NOSTRETCH_DISABLE;
  if (HAL_I2C_Init(&hi2c1) != HAL_OK) {
    Error_Handler();
  }
  if (HAL_I2CEx_ConfigAnalogFilter(&hi2c1, I2C_ANALOGFILTER_ENABLE) != HAL_OK) {
    Error_Handler();
  }
  if (HAL_I2CEx_ConfigDigitalFilter(&hi2c1, 0) != HAL_OK) {
    Error_Handler();
  }
}

static void MX_TIM1_Init(void) {
  TIM_ClockConfigTypeDef sClockSourceConfig = {0};
  TIM_MasterConfigTypeDef sMasterConfig = {0};
  TIM_OC_InitTypeDef sConfigOC = {0};
  TIM_BreakDeadTimeConfigTypeDef sBreakDeadTimeConfig = {0};

  htim1.Instance = TIM1;
  htim1.Init.Prescaler = 63;
  htim1.Init.CounterMode = TIM_COUNTERMODE_UP;
  htim1.Init.Period = 2499; // 400Hz per gli ESC
  htim1.Init.ClockDivision = TIM_CLOCKDIVISION_DIV1;
  htim1.Init.RepetitionCounter = 0;
  htim1.Init.AutoReloadPreload = TIM_AUTORELOAD_PRELOAD_ENABLE;
  if (HAL_TIM_Base_Init(&htim1) != HAL_OK) {
    Error_Handler();
  }

  sClockSourceConfig.ClockSource = TIM_CLOCKSOURCE_INTERNAL;
  if (HAL_TIM_ConfigClockSource(&htim1, &sClockSourceConfig) != HAL_OK) {
    Error_Handler();
  }
  if (HAL_TIM_PWM_Init(&htim1) != HAL_OK) {
    Error_Handler();
  }

  sMasterConfig.MasterOutputTrigger = TIM_TRGO_RESET;
  sMasterConfig.MasterOutputTrigger2 = TIM_TRGO2_RESET;
  sMasterConfig.MasterSlaveMode = TIM_MASTERSLAVEMODE_DISABLE;
  if (HAL_TIMEx_MasterConfigSynchronization(&htim1, &sMasterConfig) != HAL_OK) {
    Error_Handler();
  }

  sConfigOC.OCMode = TIM_OCMODE_PWM1;
  sConfigOC.Pulse = 0;
  sConfigOC.OCPolarity = TIM_OCPOLARITY_HIGH;
  sConfigOC.OCNPolarity = TIM_OCNPOLARITY_HIGH;
  sConfigOC.OCFastMode = TIM_OCFAST_DISABLE;
  sConfigOC.OCIdleState = TIM_OCIDLESTATE_RESET;
  sConfigOC.OCNIdleState = TIM_OCNIDLESTATE_RESET;

  if (HAL_TIM_PWM_ConfigChannel(&htim1, &sConfigOC, TIM_CHANNEL_1) != HAL_OK) {
    Error_Handler();
  }
  if (HAL_TIM_PWM_ConfigChannel(&htim1, &sConfigOC, TIM_CHANNEL_2) != HAL_OK) {
    Error_Handler();
  }
  if (HAL_TIM_PWM_ConfigChannel(&htim1, &sConfigOC, TIM_CHANNEL_3) != HAL_OK) {
    Error_Handler();
  }
  if (HAL_TIM_PWM_ConfigChannel(&htim1, &sConfigOC, TIM_CHANNEL_4) != HAL_OK) {
    Error_Handler();
  }

  sBreakDeadTimeConfig.OffStateRunMode = TIM_OSSR_DISABLE;
  sBreakDeadTimeConfig.OffStateIDLEMode = TIM_OSSI_DISABLE;
  sBreakDeadTimeConfig.LockLevel = TIM_LOCKLEVEL_OFF;
  sBreakDeadTimeConfig.DeadTime = 0;
  sBreakDeadTimeConfig.BreakState = TIM_BREAK_DISABLE;
  sBreakDeadTimeConfig.BreakPolarity = TIM_BREAKPOLARITY_HIGH;
  sBreakDeadTimeConfig.AutomaticOutput = TIM_AUTOMATICOUTPUT_DISABLE;
  if (HAL_TIMEx_ConfigBreakDeadTime(&htim1, &sBreakDeadTimeConfig) != HAL_OK) {
    Error_Handler();
  }

  HAL_TIM_MspPostInit(&htim1);
}

static void MX_USART2_UART_Init(void) {
  huart2.Instance = USART2;
  huart2.Init.BaudRate = 115200;
  huart2.Init.WordLength = UART_WORDLENGTH_8B;
  huart2.Init.StopBits = UART_STOPBITS_1;
  huart2.Init.Parity = UART_PARITY_NONE;
  huart2.Init.Mode = UART_MODE_TX_RX;
  huart2.Init.HwFlowCtl = UART_HWCONTROL_NONE;
  huart2.Init.OverSampling = UART_OVERSAMPLING_16;
  huart2.Init.OneBitSampling = UART_ONE_BIT_SAMPLE_DISABLE;
  huart2.Init.ClockPrescaler = UART_PRESCALER_DIV1;
  huart2.AdvancedInit.AdvFeatureInit = UART_ADVFEATURE_NO_INIT;
  if (HAL_UART_Init(&huart2) != HAL_OK) {
    Error_Handler();
  }
  if (HAL_UARTEx_SetTxFifoThreshold(&huart2, UART_TXFIFO_THRESHOLD_1_8) !=
      HAL_OK) {
    Error_Handler();
  }
  if (HAL_UARTEx_SetRxFifoThreshold(&huart2, UART_RXFIFO_THRESHOLD_1_8) !=
      HAL_OK) {
    Error_Handler();
  }
  if (HAL_UARTEx_DisableFifoMode(&huart2) != HAL_OK) {
    Error_Handler();
  }
}

static void MX_GPIO_Init(void) {
  GPIO_InitTypeDef GPIO_InitStruct = {0};

  /* GPIO Ports Clock Enable */
  __HAL_RCC_GPIOC_CLK_ENABLE();
  __HAL_RCC_GPIOH_CLK_ENABLE();
  __HAL_RCC_GPIOE_CLK_ENABLE();
  __HAL_RCC_GPIOD_CLK_ENABLE();

  /*Configure GPIO pins : STLINK_RX_Pin STLINK_TX_Pin */
  GPIO_InitStruct.Pin = STLINK_RX_Pin | STLINK_TX_Pin;
  GPIO_InitStruct.Mode = GPIO_MODE_AF_PP;
  GPIO_InitStruct.Pull = GPIO_NOPULL;
  GPIO_InitStruct.Speed = GPIO_SPEED_FREQ_LOW;
  GPIO_InitStruct.Alternate = GPIO_AF7_USART3;
  HAL_GPIO_Init(GPIOD, &GPIO_InitStruct);
}

/* MPU Configuration */
void MPU_Config(void) {
  MPU_Region_InitTypeDef MPU_InitStruct = {0};

  HAL_MPU_Disable();

  MPU_InitStruct.Enable = MPU_REGION_ENABLE;
  MPU_InitStruct.Number = MPU_REGION_NUMBER0;
  MPU_InitStruct.BaseAddress = 0x0;
  MPU_InitStruct.Size = MPU_REGION_SIZE_4GB;
  MPU_InitStruct.SubRegionDisable = 0x87;
  MPU_InitStruct.TypeExtField = MPU_TEX_LEVEL0;
  MPU_InitStruct.AccessPermission = MPU_REGION_NO_ACCESS;
  MPU_InitStruct.DisableExec = MPU_INSTRUCTION_ACCESS_DISABLE;
  MPU_InitStruct.IsShareable = MPU_ACCESS_SHAREABLE;
  MPU_InitStruct.IsCacheable = MPU_ACCESS_NOT_CACHEABLE;
  MPU_InitStruct.IsBufferable = MPU_ACCESS_NOT_BUFFERABLE;

  HAL_MPU_ConfigRegion(&MPU_InitStruct);
  HAL_MPU_Enable(MPU_PRIVILEGED_DEFAULT);
}

void Error_Handler(void) {
  __disable_irq();
  while (1) {
  }
}
